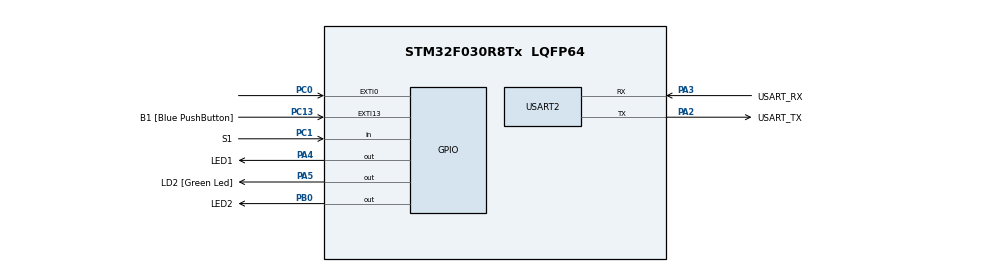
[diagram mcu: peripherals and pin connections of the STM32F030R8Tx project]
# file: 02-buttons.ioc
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Mcu.Family=STM32F0
Mcu.Name=STM32F030R8Tx
Mcu.Package=LQFP64
NVIC.EXTI0_1_IRQn=true\:0\:0\:false\:false\:true\:true\:true\:true
PA13.GPIO_Label=TMS
PA13.Mode=Serial_Wire
PA13.Signal=SYS_SWDIO
PA14.GPIO_Label=TCK
PA14.Mode=Serial_Wire
PA14.Signal=SYS_SWCLK
PA2.GPIO_Label=USART_TX
PA2.GPIO_Mode=GPIO_MODE_AF_PP
PA2.GPIO_PuPd=GPIO_NOPULL
PA2.GPIO_Speed=GPIO_SPEED_FREQ_LOW
PA2.Mode=Asynchronous
PA2.Signal=USART2_TX
PA3.GPIO_Label=USART_RX
PA3.GPIO_Mode=GPIO_MODE_AF_PP
PA3.GPIO_PuPd=GPIO_NOPULL
PA3.GPIO_Speed=GPIO_SPEED_FREQ_LOW
PA3.Mode=Asynchronous
PA3.Signal=USART2_RX
PA4.GPIO_Label=LED1
PA4.Signal=GPIO_Output
PA5.GPIO_Label=LD2 [Green Led]
PA5.GPIO_Mode=GPIO_MODE_OUTPUT_PP
PA5.GPIO_PuPd=GPIO_NOPULL
PA5.GPIO_Speed=GPIO_SPEED_FREQ_LOW
PA5.Signal=GPIO_Output
PB0.GPIO_Label=LED2
PB0.Signal=GPIO_Output
PC0.GPIO_ModeDefaultEXTI=GPIO_MODE_IT_FALLING
PC0.GPIO_PuPd=GPIO_PULLUP
PC0.Signal=GPXTI0
PC1.GPIO_Label=S1
PC1.GPIO_PuPd=GPIO_PULLUP
PC1.Signal=GPIO_Input
PC13.GPIO_Label=B1 [Blue PushButton]
PC13.GPIO_ModeDefaultEXTI=GPIO_MODE_IT_FALLING
PC13.Signal=GPXTI13
PC14-OSC32_IN.Mode=LSE-External-Oscillator
PC14-OSC32_IN.Signal=RCC_OSC32_IN
PC15-OSC32_OUT.Mode=LSE-External-Oscillator
PC15-OSC32_OUT.Signal=RCC_OSC32_OUT
PF0-OSC_IN.Mode=HSE-External-Clock-Source
PF0-OSC_IN.Signal=RCC_OSC_IN
PF1-OSC_OUT.Signal=RCC_OSC_OUT
ProjectManager.HeapSize=0x200
ProjectManager.StackSize=0x400
ProjectManager.TargetToolchain=STM32CubeIDE
RCC.AHBFreq_Value=48000000
RCC.APB1Freq_Value=48000000
RCC.APB1TimFreq_Value=48000000
RCC.HCLKFreq_Value=48000000
RCC.PLLMUL=RCC_PLL_MUL12
RCC.SYSCLKFreq_VALUE=48000000
RCC.SYSCLKSource=RCC_SYSCLKSOURCE_PLLCLK
USART2.VirtualMode-Asynchronous=VM_ASYNC
board=NUCLEO-F030R8

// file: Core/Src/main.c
/* USER CODE BEGIN Header */
/**
  ******************************************************************************
  * @file           : main.c
  * @brief          : Main program body
  ******************************************************************************
  * @attention
  *
  * Copyright (c) 2024 STMicroelectronics.
  * All rights reserved.
  *
  * This software is licensed under terms that can be found in the LICENSE file
  * in the root directory of this software component.
  * If no LICENSE file comes with this software, it is provided AS-IS.
  *
  ******************************************************************************
  */
/* USER CODE END Header */
#include "main.h"

/* USER CODE BEGIN PD */

#define LED_TIME_BLINK 300
#define LED_TIME_SHORT 100
#define LED_TIME_LONG 1000
#define BUTTON_PERIOD 5

/* USER CODE END PD */

/* USER CODE BEGIN PV */

volatile uint32_t Tick;

/* USER CODE END PV */

void SystemClock_Config(void);
static void MX_GPIO_Init(void);
static void MX_USART2_UART_Init(void);

/* USER CODE BEGIN 0 */

static void blink(void){
	static uint32_t last_blink_tick;

	if (Tick > last_blink_tick + LED_TIME_BLINK) {
		last_blink_tick = Tick;

		LL_GPIO_TogglePin(LED1_GPIO_Port, LED1_Pin);
	}
}

static void button() {
	static uint32_t off_time;
	static uint16_t debounce_s2 = 0xFFFF;
	static uint16_t debounce_s1 = 0xFFFF;
	debounce_s2 <<= 1;
	debounce_s1 <<= 1;

	if (LL_GPIO_IsInputPinSet(S2_GPIO_Port, S2_Pin)) {
		debounce_s2 |= 0x0001;
	}
	if (LL_GPIO_IsInputPinSet(S1_GPIO_Port, S1_Pin)) {
		debounce_s1 |= 0x0001;
	}

	if (debounce_s2 <= 0x7FFF) {
		off_time = Tick + LED_TIME_SHORT;
		LL_GPIO_SetOutputPin(LED2_GPIO_Port, LED2_Pin);
	}
	if (debounce_s1 <= 0x7FFF) {
		off_time = Tick + LED_TIME_LONG;
		LL_GPIO_SetOutputPin(LED2_GPIO_Port, LED2_Pin);
	}

	if (Tick > off_time) {
		LL_GPIO_ResetOutputPin(LED2_GPIO_Port, LED2_Pin);
	}
}

/* USER CODE END 0 */

int main(void)
{

  /* MCU Configuration--------------------------------------------------------*/

  /* Reset of all peripherals, Initializes the Flash interface and the Systick. */
  LL_APB1_GRP2_EnableClock(LL_APB1_GRP2_PERIPH_SYSCFG);
  LL_APB1_GRP1_EnableClock(LL_APB1_GRP1_PERIPH_PWR);

  /* Configure the system clock */
  SystemClock_Config();

  /* Initialize all configured peripherals */
  MX_GPIO_Init();
  MX_USART2_UART_Init();
  /* USER CODE BEGIN 2 */

  LL_SYSTICK_EnableIT();

  /* USER CODE END 2 */

  /* Infinite loop */
  /* USER CODE BEGIN WHILE */
  while (1)
  {
	  blink();

	  static uint32_t last_button_tick;
	  if (Tick > last_button_tick + BUTTON_PERIOD) {
		  last_button_tick = Tick;

		  button();
	  }
    /* USER CODE END WHILE */

  }
}

void SystemClock_Config(void)
{
  LL_FLASH_SetLatency(LL_FLASH_LATENCY_1);
  while(LL_FLASH_GetLatency() != LL_FLASH_LATENCY_1)
  {
  }
  LL_RCC_HSI_Enable();

   /* Wait till HSI is ready */
  while(LL_RCC_HSI_IsReady() != 1)
  {

  }
  LL_RCC_HSI_SetCalibTrimming(16);
  LL_RCC_PLL_ConfigDomain_SYS(LL_RCC_PLLSOURCE_HSI_DIV_2, LL_RCC_PLL_MUL_12);
  LL_RCC_PLL_Enable();

   /* Wait till PLL is ready */
  while(LL_RCC_PLL_IsReady() != 1)
  {

  }
  LL_RCC_SetAHBPrescaler(LL_RCC_SYSCLK_DIV_1);
  LL_RCC_SetAPB1Prescaler(LL_RCC_APB1_DIV_1);
  LL_RCC_SetSysClkSource(LL_RCC_SYS_CLKSOURCE_PLL);

   /* Wait till System clock is ready */
  while(LL_RCC_GetSysClkSource() != LL_RCC_SYS_CLKSOURCE_STATUS_PLL)
  {

  }
  LL_Init1msTick(48000000);
  LL_SetSystemCoreClock(48000000);
}

static void MX_USART2_UART_Init(void)
{

  LL_USART_InitTypeDef USART_InitStruct = {0};

  LL_GPIO_InitTypeDef GPIO_InitStruct = {0};

  /* Peripheral clock enable */
  LL_APB1_GRP1_EnableClock(LL_APB1_GRP1_PERIPH_USART2);

  LL_AHB1_GRP1_EnableClock(LL_AHB1_GRP1_PERIPH_GPIOA);
  /**USART2 GPIO Configuration
  PA2   ------> USART2_TX
  PA3   ------> USART2_RX
  */
  GPIO_InitStruct.Pin = USART_TX_Pin;
  GPIO_InitStruct.Mode = LL_GPIO_MODE_ALTERNATE;
  GPIO_InitStruct.Speed = LL_GPIO_SPEED_FREQ_LOW;
  GPIO_InitStruct.OutputType = LL_GPIO_OUTPUT_PUSHPULL;
  GPIO_InitStruct.Pull = LL_GPIO_PULL_NO;
  GPIO_InitStruct.Alternate = LL_GPIO_AF_1;
  LL_GPIO_Init(USART_TX_GPIO_Port, &GPIO_InitStruct);

  GPIO_InitStruct.Pin = USART_RX_Pin;
  GPIO_InitStruct.Mode = LL_GPIO_MODE_ALTERNATE;
  GPIO_InitStruct.Speed = LL_GPIO_SPEED_FREQ_LOW;
  GPIO_InitStruct.OutputType = LL_GPIO_OUTPUT_PUSHPULL;
  GPIO_InitStruct.Pull = LL_GPIO_PULL_NO;
  GPIO_InitStruct.Alternate = LL_GPIO_AF_1;
  LL_GPIO_Init(USART_RX_GPIO_Port, &GPIO_InitStruct);

  USART_InitStruct.BaudRate = 38400;
  USART_InitStruct.DataWidth = LL_USART_DATAWIDTH_8B;
  USART_InitStruct.StopBits = LL_USART_STOPBITS_1;
  USART_InitStruct.Parity = LL_USART_PARITY_NONE;
  USART_InitStruct.TransferDirection = LL_USART_DIRECTION_TX_RX;
  USART_InitStruct.HardwareFlowControl = LL_USART_HWCONTROL_NONE;
  USART_InitStruct.OverSampling = LL_USART_OVERSAMPLING_16;
  LL_USART_Init(USART2, &USART_InitStruct);
  LL_USART_DisableIT_CTS(USART2);
  LL_USART_ConfigAsyncMode(USART2);
  LL_USART_Enable(USART2);

}

static void MX_GPIO_Init(void)
{
  LL_EXTI_InitTypeDef EXTI_InitStruct = {0};
  LL_GPIO_InitTypeDef GPIO_InitStruct = {0};

  /* GPIO Ports Clock Enable */
  LL_AHB1_GRP1_EnableClock(LL_AHB1_GRP1_PERIPH_GPIOC);
  LL_AHB1_GRP1_EnableClock(LL_AHB1_GRP1_PERIPH_GPIOF);
  LL_AHB1_GRP1_EnableClock(LL_AHB1_GRP1_PERIPH_GPIOA);
  LL_AHB1_GRP1_EnableClock(LL_AHB1_GRP1_PERIPH_GPIOB);

  /**/
  LL_GPIO_ResetOutputPin(LED1_GPIO_Port, LED1_Pin);

  /**/
  LL_GPIO_ResetOutputPin(LD2_GPIO_Port, LD2_Pin);

  /**/
  LL_GPIO_ResetOutputPin(LED2_GPIO_Port, LED2_Pin);

  /**/
  LL_SYSCFG_SetEXTISource(LL_SYSCFG_EXTI_PORTC, LL_SYSCFG_EXTI_LINE13);

  /**/
  LL_GPIO_SetPinPull(B1_GPIO_Port, B1_Pin, LL_GPIO_PULL_NO);

  /**/
  LL_GPIO_SetPinMode(B1_GPIO_Port, B1_Pin, LL_GPIO_MODE_INPUT);

  /**/
  EXTI_InitStruct.Line_0_31 = LL_EXTI_LINE_13;
  EXTI_InitStruct.LineCommand = ENABLE;
  EXTI_InitStruct.Mode = LL_EXTI_MODE_IT;
  EXTI_InitStruct.Trigger = LL_EXTI_TRIGGER_FALLING;
  LL_EXTI_Init(&EXTI_InitStruct);

  /**/
  GPIO_InitStruct.Pin = S2_Pin;
  GPIO_InitStruct.Mode = LL_GPIO_MODE_INPUT;
  GPIO_InitStruct.Pull = LL_GPIO_PULL_UP;
  LL_GPIO_Init(S2_GPIO_Port, &GPIO_InitStruct);

  /**/
  GPIO_InitStruct.Pin = S1_Pin;
  GPIO_InitStruct.Mode = LL_GPIO_MODE_INPUT;
  GPIO_InitStruct.Pull = LL_GPIO_PULL_UP;
  LL_GPIO_Init(S1_GPIO_Port, &GPIO_InitStruct);

  /**/
  GPIO_InitStruct.Pin = LED1_Pin;
  GPIO_InitStruct.Mode = LL_GPIO_MODE_OUTPUT;
  GPIO_InitStruct.Speed = LL_GPIO_SPEED_FREQ_LOW;
  GPIO_InitStruct.OutputType = LL_GPIO_OUTPUT_PUSHPULL;
  GPIO_InitStruct.Pull = LL_GPIO_PULL_NO;
  LL_GPIO_Init(LED1_GPIO_Port, &GPIO_InitStruct);

  /**/
  GPIO_InitStruct.Pin = LD2_Pin;
  GPIO_InitStruct.Mode = LL_GPIO_MODE_OUTPUT;
  GPIO_InitStruct.Speed = LL_GPIO_SPEED_FREQ_LOW;
  GPIO_InitStruct.OutputType = LL_GPIO_OUTPUT_PUSHPULL;
  GPIO_InitStruct.Pull = LL_GPIO_PULL_NO;
  LL_GPIO_Init(LD2_GPIO_Port, &GPIO_InitStruct);

  /**/
  GPIO_InitStruct.Pin = LED2_Pin;
  GPIO_InitStruct.Mode = LL_GPIO_MODE_OUTPUT;
  GPIO_InitStruct.Speed = LL_GPIO_SPEED_FREQ_LOW;
  GPIO_InitStruct.OutputType = LL_GPIO_OUTPUT_PUSHPULL;
  GPIO_InitStruct.Pull = LL_GPIO_PULL_NO;
  LL_GPIO_Init(LED2_GPIO_Port, &GPIO_InitStruct);

}

void Error_Handler(void)
{
  __disable_irq();
  while (1)
  {
  }
}
